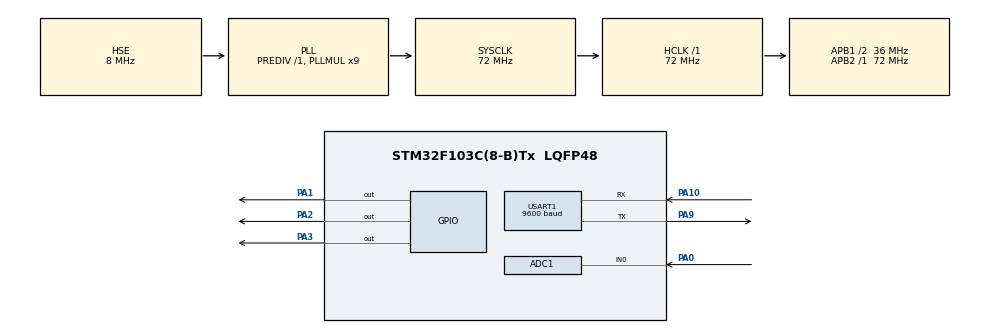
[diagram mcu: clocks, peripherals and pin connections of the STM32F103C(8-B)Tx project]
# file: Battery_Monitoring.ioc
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ADC1.Channel-1\#ChannelRegularConversion=ADC_CHANNEL_0
ADC1.NbrOfConversionFlag=1
ADC1.Rank-1\#ChannelRegularConversion=1
ADC1.SamplingTime-1\#ChannelRegularConversion=ADC_SAMPLETIME_1CYCLE_5
ADC1.master=1
Dma.ADC1.0.Direction=DMA_PERIPH_TO_MEMORY
Dma.ADC1.0.Instance=DMA1_Channel1
Dma.ADC1.0.MemDataAlignment=DMA_MDATAALIGN_HALFWORD
Dma.ADC1.0.MemInc=DMA_MINC_ENABLE
Dma.ADC1.0.Mode=DMA_NORMAL
Dma.ADC1.0.PeriphDataAlignment=DMA_PDATAALIGN_HALFWORD
Dma.ADC1.0.PeriphInc=DMA_PINC_DISABLE
Dma.ADC1.0.Priority=DMA_PRIORITY_HIGH
Dma.Request0=ADC1
IWDG.Prescaler=IWDG_PRESCALER_64
IWDG.Reload=1499
Mcu.Family=STM32F1
Mcu.Name=STM32F103C(8-B)Tx
Mcu.Package=LQFP48
NVIC.ADC1_2_IRQn=true\:0\:0\:false\:false\:true\:true\:true\:true
NVIC.DMA1_Channel1_IRQn=true\:0\:0\:false\:false\:true\:false\:true\:true
NVIC.PriorityGroup=NVIC_PRIORITYGROUP_4
NVIC.TIM2_IRQn=true\:0\:0\:false\:false\:true\:true\:true\:true
NVIC.USART1_IRQn=true\:0\:0\:false\:false\:true\:true\:true\:true
PA0-WKUP.Signal=ADCx_IN0
PA1.Signal=GPIO_Output
PA10.Mode=Asynchronous
PA10.Signal=USART1_RX
PA13.Mode=Serial_Wire
PA13.Signal=SYS_JTMS-SWDIO
PA14.Mode=Serial_Wire
PA14.Signal=SYS_JTCK-SWCLK
PA2.Signal=GPIO_Output
PA3.Signal=GPIO_Output
PA9.Mode=Asynchronous
PA9.Signal=USART1_TX
PD0-OSC_IN.Mode=HSE-External-Oscillator
PD0-OSC_IN.Signal=RCC_OSC_IN
PD1-OSC_OUT.Mode=HSE-External-Oscillator
PD1-OSC_OUT.Signal=RCC_OSC_OUT
ProjectManager.HeapSize=0x200
ProjectManager.StackSize=0x400
ProjectManager.TargetToolchain=STM32CubeIDE
RCC.ADCPresc=RCC_ADCPCLK2_DIV6
RCC.AHBFreq_Value=72000000
RCC.APB1CLKDivider=RCC_HCLK_DIV2
RCC.APB1Freq_Value=36000000
RCC.APB1TimFreq_Value=72000000
RCC.APB2Freq_Value=72000000
RCC.APB2TimFreq_Value=72000000
RCC.HCLKFreq_Value=72000000
RCC.PLLMUL=RCC_PLL_MUL9
RCC.PLLSourceVirtual=RCC_PLLSOURCE_HSE
RCC.SYSCLKFreq_VALUE=72000000
RCC.SYSCLKSource=RCC_SYSCLKSOURCE_PLLCLK
RCC.USBFreq_Value=72000000
SH.ADCx_IN0.0=ADC1_IN0,IN0
TIM2.ClockDivision=TIM_CLOCKDIVISION_DIV2
TIM2.Period=9999
TIM2.Prescaler=7199
USART1.BaudRate=9600
USART1.VirtualMode=VM_ASYNC
VP_IWDG_VS_IWDG.Mode=IWDG_Activate
VP_TIM2_VS_ClockSourceINT.Mode=Internal
VP_TIM2_VS_ClockSourceITR.Mode=TriggerSource_ITR0
board=custom

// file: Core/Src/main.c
/* USER CODE BEGIN Header */
/**
  ******************************************************************************
  * @file           : main.c
  * @brief          : Main program body
  ******************************************************************************
  * @attention
  *
  * Copyright (c) 2026 STMicroelectronics.
  * All rights reserved.
  *
  * This software is licensed under terms that can be found in the LICENSE file
  * in the root directory of this software component.
  * If no LICENSE file comes with this software, it is provided AS-IS.
  *
  ******************************************************************************
  */
/* USER CODE END Header */
#include "main.h"

/* USER CODE BEGIN Includes */
#include <stdio.h>
#include <string.h>
/* USER CODE END Includes */

ADC_HandleTypeDef hadc1;
DMA_HandleTypeDef hdma_adc1;

IWDG_HandleTypeDef hiwdg;

TIM_HandleTypeDef htim2;

UART_HandleTypeDef huart1;

/* USER CODE BEGIN PV */

uint16_t adc_buffer[10];

volatile uint8_t adc_data_ready = 0;
volatile uint8_t adc_running = 0;

float battery_voltage = 0.0f;
float previous_voltage = 0.0f;
float voltage_change =0.0f;

int battery_percentage = 0;

char uart_buffer[100];
char battery_status[5];
uint16_t uart_length = 0;

/* USER CODE END PV */

void SystemClock_Config(void);
static void MX_GPIO_Init(void);
static void MX_DMA_Init(void);
static void MX_ADC1_Init(void);
static void MX_TIM2_Init(void);
static void MX_USART1_UART_Init(void);
static void MX_IWDG_Init(void);

int main(void)
{

  /* MCU Configuration--------------------------------------------------------*/

  /* Reset of all peripherals, Initializes the Flash interface and the Systick. */
  HAL_Init();

  /* Configure the system clock */
  SystemClock_Config();

  /* Initialize all configured peripherals */
  MX_GPIO_Init();
  MX_DMA_Init();
  MX_ADC1_Init();
  MX_TIM2_Init();
  MX_USART1_UART_Init();
  MX_IWDG_Init();
  /* USER CODE BEGIN 2 */

  HAL_TIM_Base_Start_IT(&htim2);

  /* USER CODE END 2 */

  /* Infinite loop */
  while (1)
  {

    /* USER CODE BEGIN 3 */

	  //FEED THE WDG
	  HAL_IWDG_Refresh(&hiwdg);

	  if (adc_data_ready == 1)
	  {
		  uint32_t adc_sum = 0;
		  uint16_t adc_average;

		  for (int i = 0; i<10; i++)
		  {
			  adc_sum += adc_buffer[i];
		  }

		  adc_average = adc_sum / 10;

		  //calculate battery voltage
		  battery_voltage = ((float)adc_average / 4095.0f) * 3.3f * 2.0f;

		  //percentage
		  battery_percentage = (int)(((battery_voltage - 2.8f) / (3.3f - 2.8f)) * 100.0f);
		  //limits
		  if (battery_percentage > 100)
		  {
		      battery_percentage = 100;
		  }

		  if (battery_percentage < 0)
		  {
		      battery_percentage = 0;
		  }

		  //voltage change
		  if (previous_voltage == 0.0f)
		  {
		      voltage_change = 0.0f;
		      previous_voltage = battery_voltage;
		  }
		  else
		  {
		      voltage_change = battery_voltage - previous_voltage;
		      previous_voltage = battery_voltage;
		  }

		  //led indication code
		  if (battery_percentage < 30)
		  {
			  HAL_GPIO_WritePin(GPIOA, GPIO_PIN_1, GPIO_PIN_SET);
			  HAL_GPIO_WritePin(GPIOA, GPIO_PIN_2, GPIO_PIN_RESET);
			  HAL_GPIO_WritePin(GPIOA, GPIO_PIN_3, GPIO_PIN_RESET);

		  }
		  else if (battery_percentage < 80)
		  {
			  HAL_GPIO_WritePin(GPIOA, GPIO_PIN_1, GPIO_PIN_RESET);
			  HAL_GPIO_WritePin(GPIOA, GPIO_PIN_2, GPIO_PIN_SET);
			  HAL_GPIO_WritePin(GPIOA, GPIO_PIN_3, GPIO_PIN_RESET);
		  }
		  else
		  {
		      HAL_GPIO_WritePin(GPIOA, GPIO_PIN_1, GPIO_PIN_RESET);
		      HAL_GPIO_WritePin(GPIOA, GPIO_PIN_2, GPIO_PIN_RESET);
		      HAL_GPIO_WritePin(GPIOA, GPIO_PIN_3, GPIO_PIN_SET);
		  }

		  //uart transmission
		  if (battery_percentage < 30)
		  {
		      strcpy(battery_status, "LOW");
		  }
		  else if (battery_percentage < 80)
		  {
		      strcpy(battery_status, "MID");
		  }
		  else
		  {
		      strcpy(battery_status, "FULL");
		  }

		  uart_length = snprintf(uart_buffer,
		                         sizeof(uart_buffer),
		                         "V: %.2fV  P:%d%%  S:%s  dV:%+.2fV\r\n",
		                         battery_voltage,
		                         battery_percentage,
		                         battery_status,
		                         voltage_change);

		  HAL_UART_Transmit_IT(&huart1,(uint8_t *)uart_buffer,uart_length);

		  adc_data_ready = 0;
	  }

  }
  /* USER CODE END 3 */
}

void SystemClock_Config(void)
{
  RCC_OscInitTypeDef RCC_OscInitStruct = {0};
  RCC_ClkInitTypeDef RCC_ClkInitStruct = {0};
  RCC_PeriphCLKInitTypeDef PeriphClkInit = {0};

  /** Initializes the RCC Oscillators according to the specified parameters
  * in the RCC_OscInitTypeDef structure.
  */
  RCC_OscInitStruct.OscillatorType = RCC_OSCILLATORTYPE_LSI|RCC_OSCILLATORTYPE_HSE;
  RCC_OscInitStruct.HSEState = RCC_HSE_ON;
  RCC_OscInitStruct.HSEPredivValue = RCC_HSE_PREDIV_DIV1;
  RCC_OscInitStruct.HSIState = RCC_HSI_ON;
  RCC_OscInitStruct.LSIState = RCC_LSI_ON;
  RCC_OscInitStruct.PLL.PLLState = RCC_PLL_ON;
  RCC_OscInitStruct.PLL.PLLSource = RCC_PLLSOURCE_HSE;
  RCC_OscInitStruct.PLL.PLLMUL = RCC_PLL_MUL9;
  if (HAL_RCC_OscConfig(&RCC_OscInitStruct) != HAL_OK)
  {
    Error_Handler();
  }

  /** Initializes the CPU, AHB and APB buses clocks
  */
  RCC_ClkInitStruct.ClockType = RCC_CLOCKTYPE_HCLK|RCC_CLOCKTYPE_SYSCLK
                              |RCC_CLOCKTYPE_PCLK1|RCC_CLOCKTYPE_PCLK2;
  RCC_ClkInitStruct.SYSCLKSource = RCC_SYSCLKSOURCE_PLLCLK;
  RCC_ClkInitStruct.AHBCLKDivider = RCC_SYSCLK_DIV1;
  RCC_ClkInitStruct.APB1CLKDivider = RCC_HCLK_DIV2;
  RCC_ClkInitStruct.APB2CLKDivider = RCC_HCLK_DIV1;

  if (HAL_RCC_ClockConfig(&RCC_ClkInitStruct, FLASH_LATENCY_2) != HAL_OK)
  {
    Error_Handler();
  }
  PeriphClkInit.PeriphClockSelection = RCC_PERIPHCLK_ADC;
  PeriphClkInit.AdcClockSelection = RCC_ADCPCLK2_DIV6;
  if (HAL_RCCEx_PeriphCLKConfig(&PeriphClkInit) != HAL_OK)
  {
    Error_Handler();
  }
}

static void MX_ADC1_Init(void)
{

  ADC_ChannelConfTypeDef sConfig = {0};

  /** Common config
  */
  hadc1.Instance = ADC1;
  hadc1.Init.ScanConvMode = ADC_SCAN_DISABLE;
  hadc1.Init.ContinuousConvMode = DISABLE;
  hadc1.Init.DiscontinuousConvMode = DISABLE;
  hadc1.Init.ExternalTrigConv = ADC_SOFTWARE_START;
  hadc1.Init.DataAlign = ADC_DATAALIGN_RIGHT;
  hadc1.Init.NbrOfConversion = 1;
  if (HAL_ADC_Init(&hadc1) != HAL_OK)
  {
    Error_Handler();
  }

  /** Configure Regular Channel
  */
  sConfig.Channel = ADC_CHANNEL_0;
  sConfig.Rank = ADC_REGULAR_RANK_1;
  sConfig.SamplingTime = ADC_SAMPLETIME_1CYCLE_5;
  if (HAL_ADC_ConfigChannel(&hadc1, &sConfig) != HAL_OK)
  {
    Error_Handler();
  }

}

static void MX_IWDG_Init(void)
{

  hiwdg.Instance = IWDG;
  hiwdg.Init.Prescaler = IWDG_PRESCALER_64;
  hiwdg.Init.Reload = 1499;
  if (HAL_IWDG_Init(&hiwdg) != HAL_OK)
  {
    Error_Handler();
  }

}

static void MX_TIM2_Init(void)
{

  TIM_ClockConfigTypeDef sClockSourceConfig = {0};
  TIM_SlaveConfigTypeDef sSlaveConfig = {0};
  TIM_MasterConfigTypeDef sMasterConfig = {0};

  htim2.Instance = TIM2;
  htim2.Init.Prescaler = 7199;
  htim2.Init.CounterMode = TIM_COUNTERMODE_UP;
  htim2.Init.Period = 9999;
  htim2.Init.ClockDivision = TIM_CLOCKDIVISION_DIV2;
  htim2.Init.AutoReloadPreload = TIM_AUTORELOAD_PRELOAD_DISABLE;
  if (HAL_TIM_Base_Init(&htim2) != HAL_OK)
  {
    Error_Handler();
  }
  sClockSourceConfig.ClockSource = TIM_CLOCKSOURCE_INTERNAL;
  if (HAL_TIM_ConfigClockSource(&htim2, &sClockSourceConfig) != HAL_OK)
  {
    Error_Handler();
  }
  sSlaveConfig.SlaveMode = TIM_SLAVEMODE_DISABLE;
  sSlaveConfig.InputTrigger = TIM_TS_ITR0;
  if (HAL_TIM_SlaveConfigSynchro(&htim2, &sSlaveConfig) != HAL_OK)
  {
    Error_Handler();
  }
  sMasterConfig.MasterOutputTrigger = TIM_TRGO_RESET;
  sMasterConfig.MasterSlaveMode = TIM_MASTERSLAVEMODE_DISABLE;
  if (HAL_TIMEx_MasterConfigSynchronization(&htim2, &sMasterConfig) != HAL_OK)
  {
    Error_Handler();
  }

}

static void MX_USART1_UART_Init(void)
{

  huart1.Instance = USART1;
  huart1.Init.BaudRate = 9600;
  huart1.Init.WordLength = UART_WORDLENGTH_8B;
  huart1.Init.StopBits = UART_STOPBITS_1;
  huart1.Init.Parity = UART_PARITY_NONE;
  huart1.Init.Mode = UART_MODE_TX_RX;
  huart1.Init.HwFlowCtl = UART_HWCONTROL_NONE;
  huart1.Init.OverSampling = UART_OVERSAMPLING_16;
  if (HAL_UART_Init(&huart1) != HAL_OK)
  {
    Error_Handler();
  }

}

static void MX_DMA_Init(void)
{

  /* DMA controller clock enable */
  __HAL_RCC_DMA1_CLK_ENABLE();

  /* DMA interrupt init */
  /* DMA1_Channel1_IRQn interrupt configuration */
  HAL_NVIC_SetPriority(DMA1_Channel1_IRQn, 0, 0);
  HAL_NVIC_EnableIRQ(DMA1_Channel1_IRQn);

}

static void MX_GPIO_Init(void)
{
  GPIO_InitTypeDef GPIO_InitStruct = {0};

  /* GPIO Ports Clock Enable */
  __HAL_RCC_GPIOD_CLK_ENABLE();
  __HAL_RCC_GPIOA_CLK_ENABLE();

  /*Configure GPIO pin Output Level */
  HAL_GPIO_WritePin(GPIOA, GPIO_PIN_1|GPIO_PIN_2|GPIO_PIN_3, GPIO_PIN_RESET);

  /*Configure GPIO pins : PA1 PA2 PA3 */
  GPIO_InitStruct.Pin = GPIO_PIN_1|GPIO_PIN_2|GPIO_PIN_3;
  GPIO_InitStruct.Mode = GPIO_MODE_OUTPUT_PP;
  GPIO_InitStruct.Pull = GPIO_NOPULL;
  GPIO_InitStruct.Speed = GPIO_SPEED_FREQ_LOW;
  HAL_GPIO_Init(GPIOA, &GPIO_InitStruct);

}

/* USER CODE BEGIN 4 */

void HAL_TIM_PeriodElapsedCallback(TIM_HandleTypeDef *htim)
{
	if (htim ->Instance == TIM2)
	{
		if (adc_running == 0)
		        {
		            adc_running = 1;
		            HAL_ADC_Start_DMA(&hadc1, (uint32_t *)adc_buffer, 10);
		        }
	}
}

void HAL_ADC_ConvCpltCallback(ADC_HandleTypeDef *hadc)
{
	if(hadc->Instance == ADC1)
	{
		adc_running = 0;
		adc_data_ready = 1;
	}
}

void HAL_UART_TxCpltCallback(UART_HandleTypeDef *huart)
{
    if (huart->Instance == USART1)
    {
        // UART transmission completed
    }
}

/* USER CODE END 4 */

void Error_Handler(void)
{
  __disable_irq();
  while (1)
  {
  }
}
